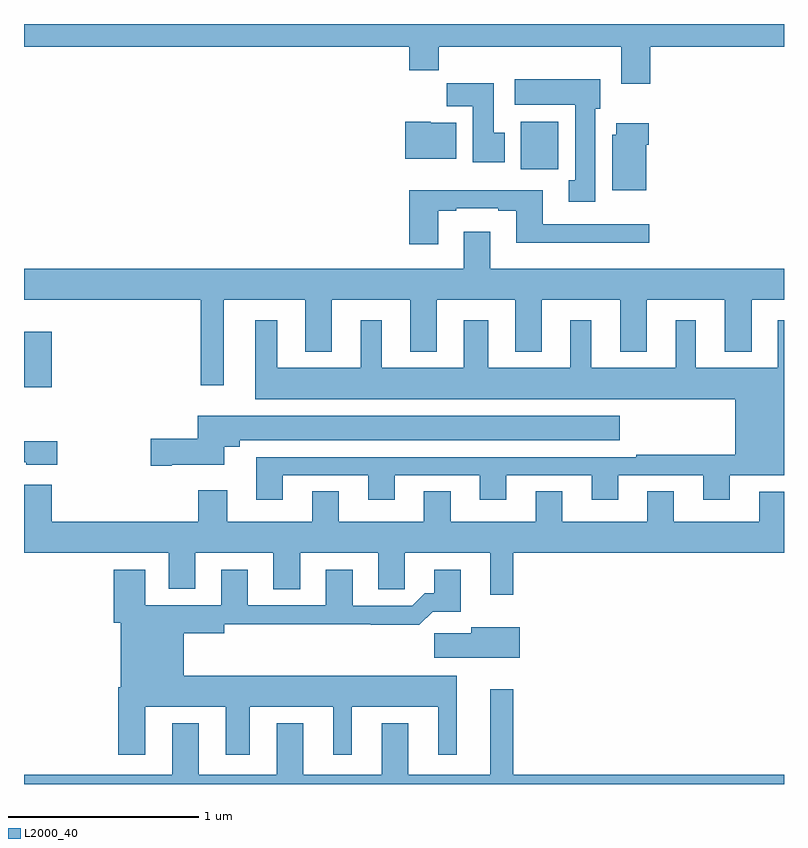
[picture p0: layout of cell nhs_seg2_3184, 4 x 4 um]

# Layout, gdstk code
import gdstk
lib = gdstk.Library(unit=1e-6, precision=1e-09)
def R(c, l, rs):  # rectangles x0, y0, x1, y1
    for r in rs: c.add(gdstk.rectangle(r[:2], r[2:], *l))
def P(c, l, *ps):  # polygons
    for p in ps: c.add(gdstk.Polygon(p, *l))
L2000_40 = (2000, 40)

nhs_seg2_3184 = lib.new_cell('nhs_seg2_3184')
R(nhs_seg2_3184, L2000_40, [(279,601.889,279.146,602.179), (281.615,603.036,281.811,603.286)])
P(nhs_seg2_3184, L2000_40, [(282.296,603.68),(283,603.68),(283,603.8),(279,603.8),(279,603.68),(281.027,603.68),(281.027,603.556),(281.183,603.556),(281.183,603.68),(282.143,603.68),(282.143,603.486),(282.296,603.486)],
  [(282.007,603.354),(282.034,603.354),(282.034,603.508),(281.583,603.508),(281.583,603.374),(281.9,603.374),(281.9,602.977),(281.867,602.977),(281.867,602.865),(282.007,602.865)],
  [(281.53,603.228),(281.473,603.228),(281.473,603.487),(281.224,603.487),(281.224,603.368),(281.363,603.368),(281.363,603.072),(281.53,603.072)],
  [(281.275,603.28),(281.142,603.28),(281.142,603.286),(281.006,603.286),(281.006,603.092),(281.275,603.092)],
  [(282.274,603.164),(282.287,603.164),(282.287,603.277),(282.116,603.277),(282.116,603.216),(282.095,603.216),(282.095,602.924),(282.274,602.924)],
  [(281.179,602.817),(281.275,602.817),(281.275,602.829),(281.495,602.829),(281.495,602.817),(281.591,602.817),(281.591,602.648),(282.292,602.648),(282.292,602.745),(281.731,602.745),(281.731,602.926),(281.027,602.926),(281.027,602.64),(281.179,602.64)],
  [(280.051,602.348),(280.481,602.348),(280.481,602.075),(280.621,602.075),(280.621,602.348),(281.033,602.348),(281.033,602.075),(281.173,602.075),(281.173,602.348),(281.585,602.348),(281.585,602.075),(281.725,602.075),(281.725,602.348),(282.137,602.348),(282.137,602.075),(282.277,602.075),(282.277,602.348),(282.689,602.348),(282.689,602.075),(282.829,602.075),(282.829,602.348),(283,602.348),(283,602.512),(281.455,602.512),(281.455,602.707),(281.315,602.707),(281.315,602.512),(279,602.512),(279,602.348),(279.93,602.348),(279.93,601.899),(280.051,601.899)],
  [(280.363,601.425),(280.811,601.425),(280.811,601.296),(280.951,601.296),(280.951,601.425),(281.399,601.425),(281.399,601.296),(281.539,601.296),(281.539,601.425),(281.987,601.425),(281.987,601.296),(282.127,601.296),(282.127,601.425),(282.575,601.425),(282.575,601.296),(282.715,601.296),(282.715,601.424),(283,601.424),(283,602.242),(282.968,602.242),(282.968,601.99),(282.535,601.99),(282.535,602.242),(282.431,602.242),(282.431,601.99),(281.986,601.99),(281.986,602.242),(281.876,602.242),(281.876,601.99),(281.443,601.99),(281.443,602.242),(281.315,602.242),(281.315,601.99),(280.882,601.99),(280.882,602.242),(280.772,602.242),(280.772,601.99),(280.333,601.99),(280.333,602.242),(280.217,602.242),(280.217,601.826),(282.743,601.826),(282.743,601.534),(282.223,601.534),(282.223,601.521),(280.223,601.521),(280.223,601.296),(280.363,601.296)],
  [(279.778,601.481),(280.054,601.481),(280.054,601.574),(280.135,601.574),(280.135,601.61),(282.136,601.61),(282.136,601.738),(279.914,601.738),(279.914,601.616),(279.666,601.616),(279.666,601.474),(279.778,601.474)],
  [(279.175,601.603),(279,601.603),(279,601.493),(279.012,601.493),(279.012,601.481),(279.175,601.481)],
  [(281.575,601.016),(283,601.016),(283,601.339),(282.869,601.339),(282.869,601.18),(282.421,601.18),(282.421,601.34),(282.281,601.34),(282.281,601.18),(281.833,601.18),(281.833,601.34),(281.693,601.34),(281.693,601.18),(281.245,601.18),(281.245,601.34),(281.105,601.34),(281.105,601.18),(280.657,601.18),(280.657,601.34),(280.517,601.34),(280.517,601.18),(280.069,601.18),(280.069,601.345),(279.917,601.345),(279.917,601.18),(279.146,601.18),(279.146,601.375),(279,601.375),(279,601.016),(279.761,601.016),(279.761,600.827),(279.901,600.827),(279.901,601.016),(280.313,601.016),(280.313,600.826),(280.453,600.826),(280.453,601.016),(280.865,601.016),(280.865,600.826),(281.004,600.826),(281.004,601.016),(281.453,601.016),(281.453,600.795),(281.575,600.795)],
  [(279.637,600.206),(280.061,600.206),(280.061,599.955),(280.189,599.955),(280.189,600.206),(280.628,600.206),(280.628,599.955),(280.726,599.955),(280.726,600.206),(281.18,600.206),(281.18,599.955),(281.278,599.955),(281.278,600.37),(279.841,600.37),(279.841,600.593),(280.054,600.593),(280.054,600.64),(280.825,600.64),(280.825,600.638),(281.081,600.638),(281.15,600.707),(281.299,600.707),(281.299,600.928),(281.159,600.928),(281.159,600.805),(281.11,600.805),(281.043,600.738),(280.729,600.738),(280.729,600.928),(280.589,600.928),(280.589,600.741),(280.177,600.741),(280.177,600.928),(280.037,600.928),(280.037,600.742),(279.637,600.742),(279.637,600.928),(279.473,600.928),(279.473,600.648),(279.509,600.648),(279.509,600.31),(279.497,600.31),(279.497,599.955),(279.637,599.955)],
  [(281.608,600.625),(281.354,600.625),(281.354,600.593),(281.16,600.593),(281.16,600.464),(281.608,600.464)],
  [(283,599.848),(281.575,599.848),(281.575,600.298),(281.453,600.298),(281.453,599.848),(281.023,599.848),(281.023,600.121),(280.883,600.121),(280.883,599.848),(280.471,599.848),(280.471,600.121),(280.331,600.121),(280.331,599.848),(279.919,599.848),(279.919,600.121),(279.779,600.121),(279.779,599.848),(279,599.848),(279,599.8),(283,599.8)])

lib.write_gds('nhs_seg2_3184.gds')
